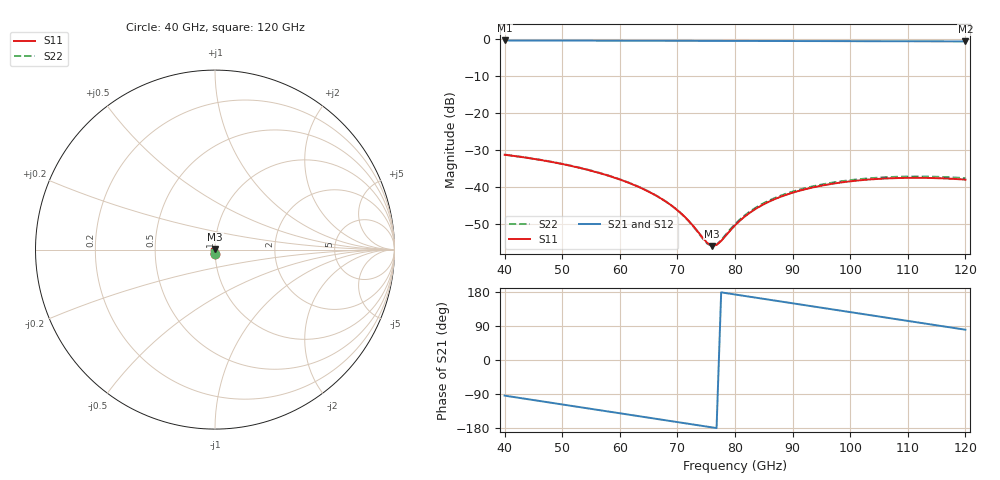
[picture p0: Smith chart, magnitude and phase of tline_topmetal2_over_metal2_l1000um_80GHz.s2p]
#  GHZ S DB R 50
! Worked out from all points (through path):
!   101 points, 40 GHz to 120 GHz, reference 50 ohm
!   highest |S21| = -0.41 dB at 40 GHz (marker M1); lowest = -0.7 dB at 120 GHz (marker M2)
!   group delay of S21, straight-line fit = 6.46 ps
!   lowest |S11| = -56.0 dB at 76 GHz (marker M3), VSWR 1.00, Z = 50 + j0.158 ohm
!   |S11| at or under -10 dB: start of sweep to end of sweep
!   |S22| runs from -56.1 to -31.3 dB; largest |S21 - S12| = 2.2e-14
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40  -31.35 -89.3  -0.41 -94.0  -0.41 -94.0  -31.31 -89.4
46.4  -32.81 -107.4  -0.43 -108.9  -0.43 -108.9  -32.76 -107.4
53.6  -35.12 -128.2  -0.46 -125.7  -0.46 -125.7  -35.06 -128.2
57.6  -36.82 -140.3  -0.47 -135.0  -0.47 -135.0  -36.76 -140.2
61.6  -38.98 -153.0  -0.48 -144.3  -0.48 -144.3  -38.92 -152.9
64.8  -41.17 -164.1  -0.49 -151.7  -0.49 -151.7  -41.13 -164.0
67.2  -43.24 -173.6  -0.50 -157.3  -0.50 -157.3  -43.21 -173.4
69.6  -45.85 175.0  -0.51 -162.9  -0.51 -162.9  -45.85 175.2
71.2  -48.04 165.2  -0.51 -166.6  -0.51 -166.6  -48.08 165.3
75.2  -55.24 111.8  -0.52 -175.9  -0.52 -175.9  -55.43 109.9
76  -56.00 90.6  -0.52 -177.8  -0.52 -177.8  -56.09 87.8
76.8  -55.76 68.5  -0.53 -179.6  -0.53 -179.6  -55.68 65.4
77.6  -54.68 49.6  -0.53 178.5  -0.53 178.5  -54.46 46.8
80  -50.47 15.9  -0.54 172.9  -0.54 172.9  -50.15 14.5
82.4  -47.24 -1.3  -0.54 167.3  -0.54 167.3  -46.92 -2.0
85.6  -44.28 -16.6  -0.55 159.9  -0.55 159.9  -43.98 -17.0
89.6  -41.82 -31.7  -0.57 150.6  -0.57 150.6  -41.53 -31.8
93.6  -40.17 -45.0  -0.58 141.3  -0.58 141.3  -39.87 -44.9
100.8  -38.41 -67.3  -0.60 124.5  -0.60 124.5  -38.09 -67.0
107.2  -37.71 -86.3  -0.62 109.7  -0.62 109.7  -37.37 -85.8
113.6  -37.63 -105.0  -0.65 94.8  -0.65 94.8  -37.27 -104.3
120  -38.09 -123.6  -0.67 79.9  -0.67 79.9  -37.70 -122.7
